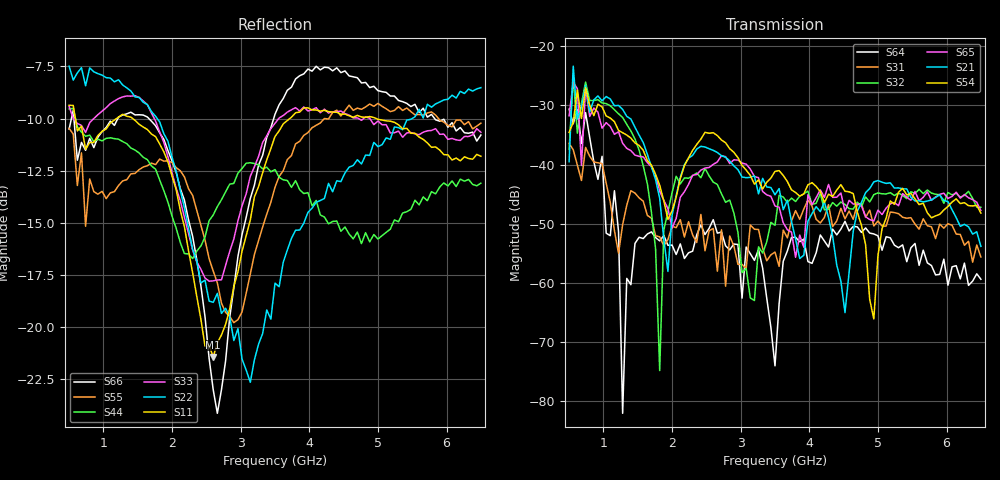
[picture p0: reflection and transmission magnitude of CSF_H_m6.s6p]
!Keysight Technologies,M9804A,MY58100912,A.14.10.03
!Date: Thursday, April 27, 2023 10:28:33
!Correction: S11(C  6-Port  )
!S12(C  6-Port  )
!S13(C  6-Port  )
!S14(C  6-Port  )
!S15(C  6-Port  )
!S16(C  6-Port  )
!S21(C  6-Port  )
!S22(C  6-Port  )
!S23(C  6-Port  )
!S24(C  6-Port  )
!S25(C  6-Port  )
!S26(C  6-Port  )
!S31(C  6-Port  )
!S32(C  6-Port  )
!S33(C  6-Port  )
!S34(C  6-Port  )
!S35(C  6-Port  )
!S36(C  6-Port  )
!S41(C  6-Port  )
!S42(C  6-Port  )
!S43(C  6-Port  )
!S44(C  6-Port  )
!S45(C  6-Port  )
!S46(C  6-Port  )
!S51(C  6-Port  )
!S52(C  6-Port  )
!S53(C  6-Port  )
!S54(C  6-Port  )
!S55(C  6-Port  )
!S56(C  6-Port  )
!S61(C  6-Port  )
!S62(C  6-Port  )
!S63(C  6-Port  )
!S64(C  6-Port  )
!S65(C  6-Port  )
!S66(C  6-Port  )
!S6P File: Measurement: :
# Hz S  RI  R 50
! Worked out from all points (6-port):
!   101 points, 500 MHz to 6.5 GHz, reference 50 ohm
!   strongest paths, dB at 500 MHz, 2 GHz, 3.5 GHz, 5 GHz, 6.5 GHz:
!     S54: -34.6, -47.9, -41.2, -55.4, -48.2
!     S21: -39.5, -48.6, -45.1, -42.7, -53.9
!     S65: -31.7, -50.8, -47.0, -47.7, -47.8
!     S32: -37.4, -44.8, -50.3, -44.8, -47.2
!     S31: -36.4, -50.5, -54.8, -49.6, -55.7
!     S64: -30.6, -53.6, -74.1, -52.1, -59.4
!   lowest |S11| = -21.4 dB at 2.6 GHz (marker M1), VSWR 1.19, Z = 42.5 + j2.16 ohm
!   |S11| at or under -10 dB: 590.8 MHz to 1.191 GHz (600.3 MHz wide, 67.4 % of centre); 1.426 GHz to 3.715 GHz (2.289 GHz wide, 89 % of centre); 4.975 GHz to end of sweep
